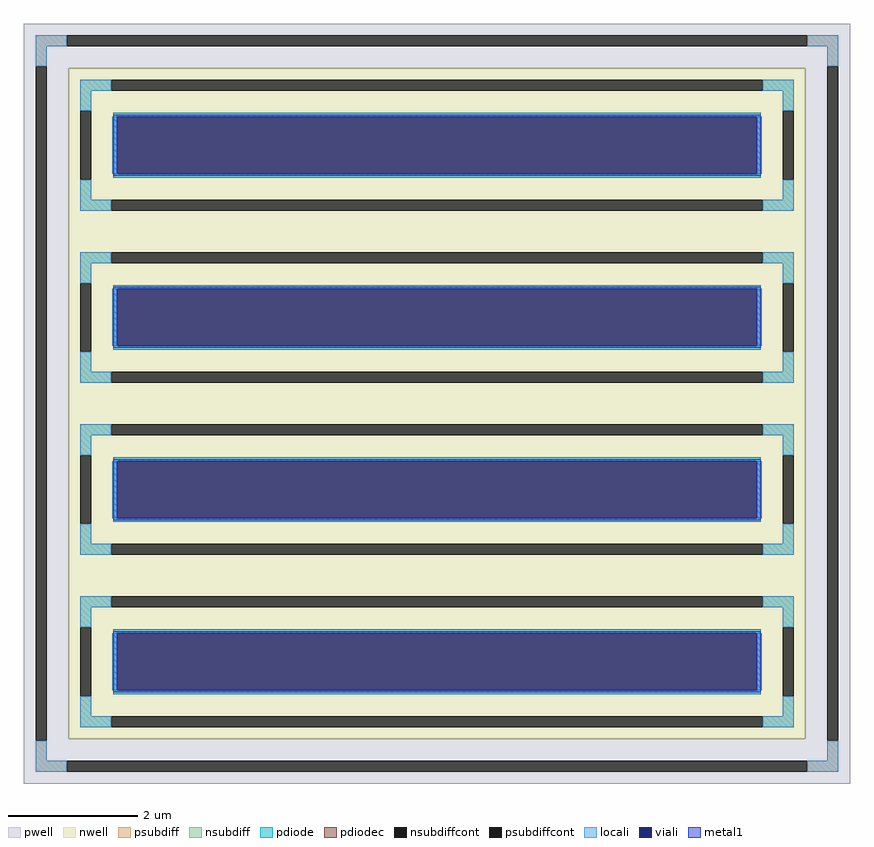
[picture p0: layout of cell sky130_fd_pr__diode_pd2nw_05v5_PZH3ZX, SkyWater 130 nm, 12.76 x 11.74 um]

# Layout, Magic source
magic
tech sky130B
<< nwell >>
rect -569 -518 569 518
<< pwell >>
rect -638 518 638 587
rect -638 -518 -569 518
rect 569 -518 638 518
rect -638 -587 638 -518
<< psubdiff >>
rect -620 552 -572 569
rect 572 552 620 569
rect -620 521 -603 552
rect 603 521 620 552
rect -620 -552 -603 -521
rect 603 -552 620 -521
rect -620 -569 -572 -552
rect 572 -569 620 -552
<< nsubdiff >>
rect -551 483 -503 500
rect 503 483 551 500
rect -551 452 -534 483
rect 534 452 551 483
rect -551 315 -534 346
rect 534 315 551 346
rect -551 298 -503 315
rect 503 298 551 315
rect -551 217 -503 234
rect 503 217 551 234
rect -551 186 -534 217
rect 534 186 551 217
rect -551 49 -534 80
rect 534 49 551 80
rect -551 32 -503 49
rect 503 32 551 49
rect -551 -49 -503 -32
rect 503 -49 551 -32
rect -551 -80 -534 -49
rect 534 -80 551 -49
rect -551 -217 -534 -186
rect 534 -217 551 -186
rect -551 -234 -503 -217
rect 503 -234 551 -217
rect -551 -315 -503 -298
rect 503 -315 551 -298
rect -551 -346 -534 -315
rect 534 -346 551 -315
rect -551 -483 -534 -452
rect 534 -483 551 -452
rect -551 -500 -503 -483
rect 503 -500 551 -483
<< psubdiffcont >>
rect -572 552 572 569
rect -620 -521 -603 521
rect 603 -521 620 521
rect -572 -569 572 -552
<< nsubdiffcont >>
rect -503 483 503 500
rect -551 346 -534 452
rect 534 346 551 452
rect -503 298 503 315
rect -503 217 503 234
rect -551 80 -534 186
rect 534 80 551 186
rect -503 32 503 49
rect -503 -49 503 -32
rect -551 -186 -534 -80
rect 534 -186 551 -80
rect -503 -234 503 -217
rect -503 -315 503 -298
rect -551 -452 -534 -346
rect 534 -452 551 -346
rect -503 -500 503 -483
<< pdiode >>
rect -500 443 500 449
rect -500 355 -494 443
rect 494 355 500 443
rect -500 349 500 355
rect -500 177 500 183
rect -500 89 -494 177
rect 494 89 500 177
rect -500 83 500 89
rect -500 -89 500 -83
rect -500 -177 -494 -89
rect 494 -177 500 -89
rect -500 -183 500 -177
rect -500 -355 500 -349
rect -500 -443 -494 -355
rect 494 -443 500 -355
rect -500 -449 500 -443
<< pdiodec >>
rect -494 355 494 443
rect -494 89 494 177
rect -494 -177 494 -89
rect -494 -443 494 -355
<< locali >>
rect -620 552 -572 569
rect 572 552 620 569
rect -620 521 -603 552
rect 603 521 620 552
rect -551 483 -503 500
rect 503 483 551 500
rect -551 452 -534 483
rect 534 452 551 483
rect -502 355 -494 443
rect 494 355 502 443
rect -551 315 -534 346
rect 534 315 551 346
rect -551 298 -503 315
rect 503 298 551 315
rect -551 217 -503 234
rect 503 217 551 234
rect -551 186 -534 217
rect 534 186 551 217
rect -502 89 -494 177
rect 494 89 502 177
rect -551 49 -534 80
rect 534 49 551 80
rect -551 32 -503 49
rect 503 32 551 49
rect -551 -49 -503 -32
rect 503 -49 551 -32
rect -551 -80 -534 -49
rect 534 -80 551 -49
rect -502 -177 -494 -89
rect 494 -177 502 -89
rect -551 -217 -534 -186
rect 534 -217 551 -186
rect -551 -234 -503 -217
rect 503 -234 551 -217
rect -551 -315 -503 -298
rect 503 -315 551 -298
rect -551 -346 -534 -315
rect 534 -346 551 -315
rect -502 -443 -494 -355
rect 494 -443 502 -355
rect -551 -483 -534 -452
rect 534 -483 551 -452
rect -551 -500 -503 -483
rect 503 -500 551 -483
rect -620 -552 -603 -521
rect 603 -552 620 -521
rect -620 -569 -572 -552
rect 572 -569 620 -552
<< viali >>
rect -494 355 494 443
rect -494 89 494 177
rect -494 -177 494 -89
rect -494 -443 494 -355
<< metal1 >>
rect -500 443 500 446
rect -500 355 -494 443
rect 494 355 500 443
rect -500 352 500 355
rect -500 177 500 180
rect -500 89 -494 177
rect 494 89 500 177
rect -500 86 500 89
rect -500 -89 500 -86
rect -500 -177 -494 -89
rect 494 -177 500 -89
rect -500 -180 500 -177
rect -500 -355 500 -352
rect -500 -443 -494 -355
rect 494 -443 500 -355
rect -500 -446 500 -443
<< properties >>
string FIXED_BBOX -542 306 542 491
string gencell sky130_fd_pr__diode_pd2nw_05v5
string library sky130
string parameters w 10 l 1 area 10.0 peri 22.0 nx 1 ny 4 dummy 0 lmin 0.45 wmin 0.45 elc 1 erc 1 etc 1 ebc 1 glc 1 grc 1 gtc 1 gbc 1 doverlap 0 compatible {sky130_fd_pr__diode_pd2nw_05v5 sky130_fd_pr__diode_pd2nw_05v5_lvt  sky130_fd_pr__diode_pd2nw_05v5_hvt sky130_fd_pr__diode_pd2nw_11v0} full_metal 1 vias 1 viagb 0 viagt 0 viagl 0 viagr 0
<< end >>
